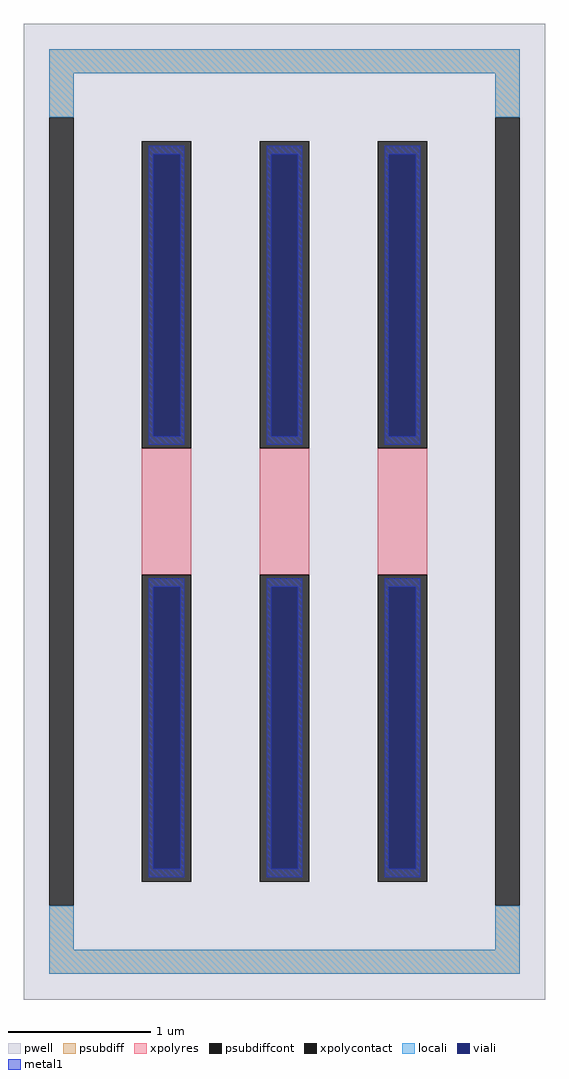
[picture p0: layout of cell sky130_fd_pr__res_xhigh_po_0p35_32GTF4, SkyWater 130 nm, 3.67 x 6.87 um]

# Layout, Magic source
magic
tech sky130A
magscale 1 2
<< pwell >>
rect -367 -687 367 687
<< psubdiff >>
rect -331 617 331 651
rect -331 555 -297 617
rect 297 555 331 617
rect -331 -617 -297 -555
rect 297 -617 331 -555
rect -331 -651 331 -617
<< psubdiffcont >>
rect -331 -555 -297 555
rect 297 -555 331 555
<< xpolycontact >>
rect -201 89 -131 521
rect -201 -521 -131 -89
rect -35 89 35 521
rect -35 -521 35 -89
rect 131 89 201 521
rect 131 -521 201 -89
<< xpolyres >>
rect -201 -89 -131 89
rect -35 -89 35 89
rect 131 -89 201 89
<< locali >>
rect -331 617 331 651
rect -331 555 -297 617
rect 297 555 331 617
rect -331 -617 -297 -555
rect 297 -617 331 -555
rect -331 -651 331 -617
<< viali >>
rect -185 106 -147 503
rect -19 106 19 503
rect 147 106 185 503
rect -185 -503 -147 -106
rect -19 -503 19 -106
rect 147 -503 185 -106
<< metal1 >>
rect -191 503 -141 515
rect -191 106 -185 503
rect -147 106 -141 503
rect -191 94 -141 106
rect -25 503 25 515
rect -25 106 -19 503
rect 19 106 25 503
rect -25 94 25 106
rect 141 503 191 515
rect 141 106 147 503
rect 185 106 191 503
rect 141 94 191 106
rect -191 -106 -141 -94
rect -191 -503 -185 -106
rect -147 -503 -141 -106
rect -191 -515 -141 -503
rect -25 -106 25 -94
rect -25 -503 -19 -106
rect 19 -503 25 -106
rect -25 -515 25 -503
rect 141 -106 191 -94
rect 141 -503 147 -106
rect 185 -503 191 -106
rect 141 -515 191 -503
<< properties >>
string FIXED_BBOX -314 -634 314 634
string gencell sky130_fd_pr__res_xhigh_po_0p35
string library sky130
string parameters w 0.350 l 1.05 m 1 nx 3 wmin 0.350 lmin 0.50 rho 2000 val 7.075k dummy 0 dw 0.0 term 188.2 sterm 0.0 caplen 0 wmax 0.350 guard 1 glc 1 grc 1 gtc 0 gbc 0 compatible {sky130_fd_pr__res_xhigh_po_0p35  sky130_fd_pr__res_xhigh_po_0p69 sky130_fd_pr__res_xhigh_po_1p41  sky130_fd_pr__res_xhigh_po_2p85 sky130_fd_pr__res_xhigh_po_5p73} snake 0 full_metal 1 n_guard 0 hv_guard 0 vias 1 viagb 0 viagt 0 viagl 0 viagr 0
<< end >>
